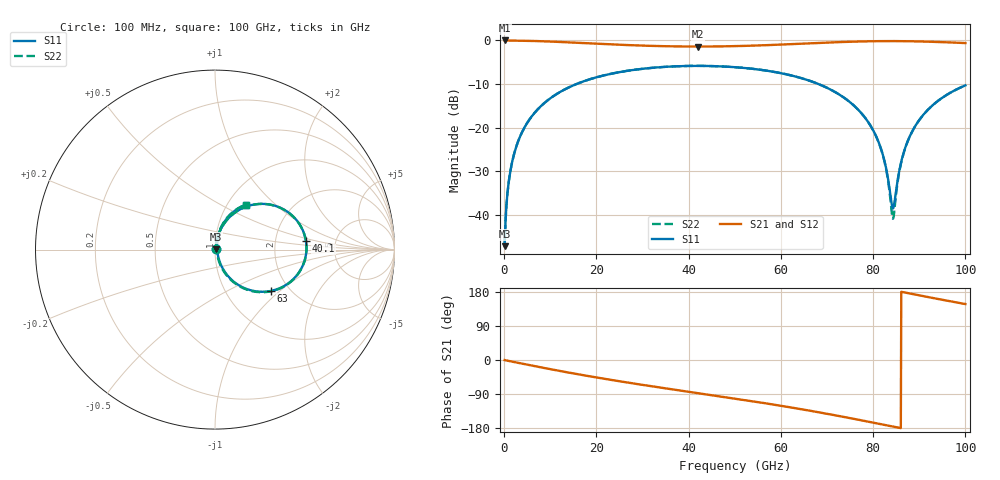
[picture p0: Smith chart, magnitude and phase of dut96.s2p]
! Touchstone file exported from HFSS 2026.1.0
!  File:  C:/ffzhzh/LocalFiles/Ansys_Project_Files/temp_train_RDL_96_1783499042_31944.aedt
!  Generated:  04:26:17 PM Jul  8, 2026
!  Design:  RDL
!  Project:  temp_train_RDL_96_1783499042_31944
! Variables:
!  h_bsmrdl = 2um
!  h_ox = 20um
!  h_rdl = 5um
!  h_sub = 80um
!  h_tmrdl = 2.65um
!  h_tsv = 80um
!  h_via = 3um
!  l_bsmrdl = 300um
!  l_sub = 1091.11um
!  l_tmrdl = 691.11um
!  m_sub = 200um
!  pitch = 52.81um
!  r_tsv = 6um
!  s_tmrdl = 10um
!  w_bsmrdl = 18um
!  w_sub = 500um
!  w_tmrdl = 28.68um
!  x_tsv_center1 = 705.45um
!  x_tsv_center2 = 1023.45um
!  x_tsv_center3 = 1743.24um
!  x_tsv_center4 = 2061.24um
!  x_tsv_center5 = 2781.03um
!  x_tsv_center6 = 3099.03um
# GHz S MA R 50.000000
! Terminal data exported
! Port[1] = TM_RDL1_1_T1
! Port[2] = TM_RDL1_1_T2
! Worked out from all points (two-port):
!   1000 points, 100 MHz to 100 GHz, reference 50 ohm
!   highest |S21| = -0.03 dB at 100 MHz (marker M1); lowest = -1.4 dB at 42 GHz (marker M2)
!   |S21| within 3 dB of the highest: start of sweep to end of sweep
!   lowest |S11| = -47.1 dB at 100 MHz (marker M3), VSWR 1.01, Z = 50.4 + j0.262 ohm
!   |S11| at or under -10 dB: start of sweep to 15.69 GHz; 68.13 GHz to end of sweep
!   |S22| runs from -47.1 to -5.8 dB; largest |S21 - S12| = 1.8e-14
!   S11 on the Smith chart (normalised r, x): 100 MHz: 1.01, +0.01; 40.1 GHz: 3.02, +0.38; 63 GHz: 1.61, -0.87; 100 GHz: 1.22, +0.67
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0.1  0.004406 36.2  0.9965 -0.3  0.9965 -0.3  0.004406 36.2
! Gamma 0 0 0 0
! Port Impedance 50 0 50 0
0.9  0.0218 75.4  0.9951 -2.3  0.9951 -2.3  0.0218 75.4
1.5  0.03525 78.3  0.9945 -3.7  0.9945 -3.7  0.03525 78.3
4.1  0.09368 76.4  0.9899 -10.1  0.9899 -10.1  0.09368 76.4
9.1  0.1992 65.7  0.9722 -22.1  0.9722 -22.1  0.1992 65.7
16.8  0.3331 49.0  0.9325 -39.3  0.9325 -39.3  0.3331 48.9
33.4  0.4909 17.1  0.8597 -71.9  0.8597 -71.9  0.4909 16.9
40.1  0.5091 5.3  0.8492 -84.0  0.8492 -84.0  0.5092 5.0
42  0.51 2.0  0.8486 -87.4  0.8486 -87.4  0.51 1.7
50.1  0.4924 -12.3  0.8584 -102.0  0.8584 -102.0  0.4925 -12.6
63  0.3873 -36.5  0.9079 -126.9  0.9079 -126.9  0.3873 -37.0
66.7  0.3378 -43.9  0.9262 -134.7  0.9262 -134.7  0.3378 -44.5
73.6  0.2222 -58.0  0.9579 -150.1  0.9579 -150.1  0.2222 -59.0
78.5  0.125 -67.0  0.9736 -161.7  0.9736 -161.7  0.1248 -68.5
81.6  0.05965 -68.3  0.9788 -169.1  0.9788 -169.1  0.05921 -71.3
83.4  0.02278 -52.6  0.9798 -173.5  0.9798 -173.5  0.02147 -59.4
84  0.01351 -23.6  0.9798 -174.9  0.9798 -174.9  0.0111 -31.1
84.4  0.01215 14.6  0.9798 -175.9  0.9798 -175.9  0.009353 17.4
86.3  0.04517 73.6  0.9784 179.5  0.9784 179.5  0.04445 76.9
88.9  0.09977 75.9  0.9739 173.2  0.9739 173.2  0.09944 77.2
93.5  0.1923 68.4  0.9595 162.3  0.9595 162.3  0.1921 69.0
100  0.305 55.3  0.9301 147.6  0.9301 147.6  0.3049 55.5
